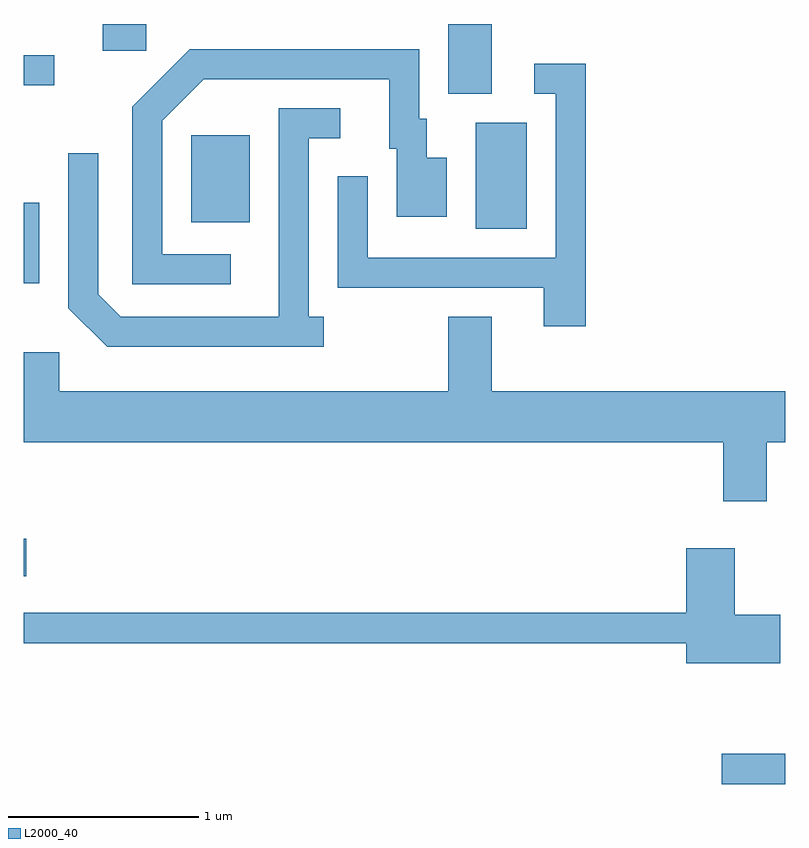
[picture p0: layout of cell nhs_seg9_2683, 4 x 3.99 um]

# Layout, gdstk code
import gdstk
lib = gdstk.Library(unit=1e-6, precision=1e-09)
def R(c, l, rs):  # rectangles x0, y0, x1, y1
    for r in rs: c.add(gdstk.rectangle(r[:2], r[2:], *l))
def P(c, l, *ps):  # polygons
    for p in ps: c.add(gdstk.Polygon(p, *l))
L2000_40 = (2000, 40)

nhs_seg9_2683 = lib.new_cell('nhs_seg9_2683')
R(nhs_seg9_2683, L2000_40, [(267.278,2014.441,267.611,2014.599), (263.611,2015.531,263.624,2015.729), (263.611,2017.071,263.694,2017.494), (265.986,2017.356,266.254,2017.914), (264.491,2017.391,264.799,2017.849), (265.841,2018.066,266.069,2018.432), (263.611,2018.111,263.773,2018.269), (264.026,2018.291,264.254,2018.432)])
P(nhs_seg9_2683, L2000_40, [(264.698,2017.224),(264.339,2017.224),(264.339,2017.924),(264.557,2018.141),(265.531,2018.141),(265.531,2017.776),(265.571,2017.776),(265.571,2017.421),(265.834,2017.421),(265.834,2017.729),(265.729,2017.729),(265.729,2017.934),(265.689,2017.934),(265.689,2018.299),(264.484,2018.299),(264.181,2017.997),(264.181,2017.066),(264.698,2017.066)],
  [(266.564,2018.224),(266.293,2018.224),(266.293,2018.066),(266.406,2018.066),(266.406,2017.204),(265.419,2017.204),(265.419,2017.633),(265.261,2017.633),(265.261,2017.046),(266.341,2017.046),(266.341,2016.846),(266.564,2016.846)],
  [(265.188,2016.894),(265.109,2016.894),(265.109,2017.831),(265.273,2017.831),(265.273,2017.989),(264.951,2017.989),(264.951,2016.894),(264.122,2016.894),(264.004,2017.012),(264.004,2017.753),(263.846,2017.753),(263.846,2016.939),(264.049,2016.736),(265.188,2016.736)],
  [(267.514,2016.236),(267.611,2016.236),(267.611,2016.504),(266.069,2016.504),(266.069,2016.894),(265.841,2016.894),(265.841,2016.504),(263.799,2016.504),(263.799,2016.709),(263.611,2016.709),(263.611,2016.236),(267.286,2016.236),(267.286,2015.926),(267.514,2015.926)],
  [(267.584,2015.329),(267.344,2015.329),(267.344,2015.679),(267.091,2015.679),(267.091,2015.339),(263.611,2015.339),(263.611,2015.181),(267.091,2015.181),(267.091,2015.076),(267.584,2015.076)])

lib.write_gds('nhs_seg9_2683.gds')
